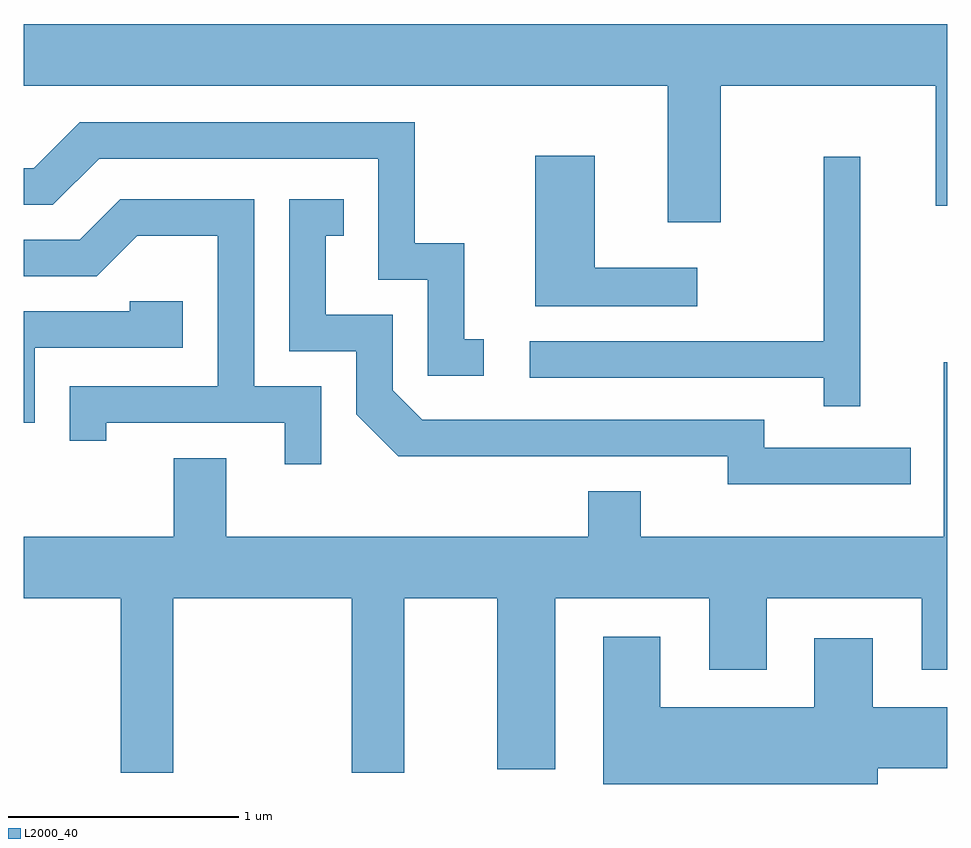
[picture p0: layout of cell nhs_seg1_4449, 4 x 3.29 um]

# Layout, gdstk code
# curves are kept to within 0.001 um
import gdstk
lib = gdstk.Library(unit=1e-6, precision=1e-09)
def P(c, l, *ps):  # polygons
    for p in ps: c.add(gdstk.Polygon(p, *l))
L2000_40 = (2000, 40)

nhs_seg1_4449 = lib.new_cell('nhs_seg1_4449')
P(nhs_seg1_4449, L2000_40, [(322.629,850.736),(323.561,850.736),(323.561,850.216),(323.611,850.216),(323.611,851.004),(319.611,851.004),(319.611,850.736),(322.401,850.736),(322.401,850.146),(322.629,850.146)],
  [(321.603,849.639),(321.519,849.639),(321.519,850.054),(321.304,850.054),(321.304,850.579),(319.854,850.579),(319.654,850.379),(319.611,850.379),(319.611,850.221),(319.737,850.221),(319.937,850.421),(321.146,850.421),(321.146,849.896),(321.361,849.896),(321.361,849.481),(321.603,849.481)],
  [(322.528,849.949),(322.084,849.949),(322.084,850.434),(321.826,850.434),(321.826,849.781),(322.528,849.781)],
  [(323.234,850.428),(323.076,850.428),(323.076,849.629),(321.803,849.629),(321.803,849.471),(323.076,849.471),(323.076,849.348),(323.234,849.348)],
  [(323.453,849.169),(322.819,849.169),(322.819,849.289),(321.337,849.289),(321.209,849.417),(321.209,849.744),(320.919,849.744),(320.919,850.086),(320.998,850.086),(320.998,850.244),(320.761,850.244),(320.761,849.586),(321.051,849.586),(321.051,849.314),(321.234,849.131),(322.661,849.131),(322.661,849.011),(323.453,849.011)],
  [(320.899,849.434),(320.609,849.434),(320.609,850.244),(320.029,850.244),(319.854,850.069),(319.611,850.069),(319.611,849.911),(319.927,849.911),(320.102,850.086),(320.451,850.086),(320.451,849.434),(319.811,849.434),(319.811,849.198),(319.969,849.198),(319.969,849.276),(320.741,849.276),(320.741,849.098),(320.899,849.098)],
  [(319.659,849.601),(320.299,849.601),(320.299,849.804),(320.071,849.804),(320.071,849.759),(319.611,849.759),(319.611,849.276),(319.659,849.276)],
  [(320.259,848.516),(321.031,848.516),(321.031,847.761),(321.259,847.761),(321.259,848.516),(321.661,848.516),(321.661,847.776),(321.914,847.776),(321.914,848.516),(322.581,848.516),(322.581,848.206),(322.829,848.206),(322.829,848.516),(323.501,848.516),(323.501,848.206),(323.611,848.206),(323.611,849.538),(323.596,849.538),(323.596,848.784),(322.284,848.784),(322.284,848.979),(322.056,848.979),(322.056,848.784),(320.489,848.784),(320.489,849.124),(320.261,849.124),(320.261,848.784),(319.611,848.784),(319.611,848.516),(320.031,848.516),(320.031,847.761),(320.259,847.761)],
  [(323.309,847.781),(323.611,847.781),(323.611,848.044),(323.289,848.044),(323.289,848.344),(323.036,848.344),(323.036,848.044),(322.369,848.044),(322.369,848.349),(322.121,848.349),(322.121,847.712),(323.309,847.712)])

lib.write_gds('nhs_seg1_4449.gds')
